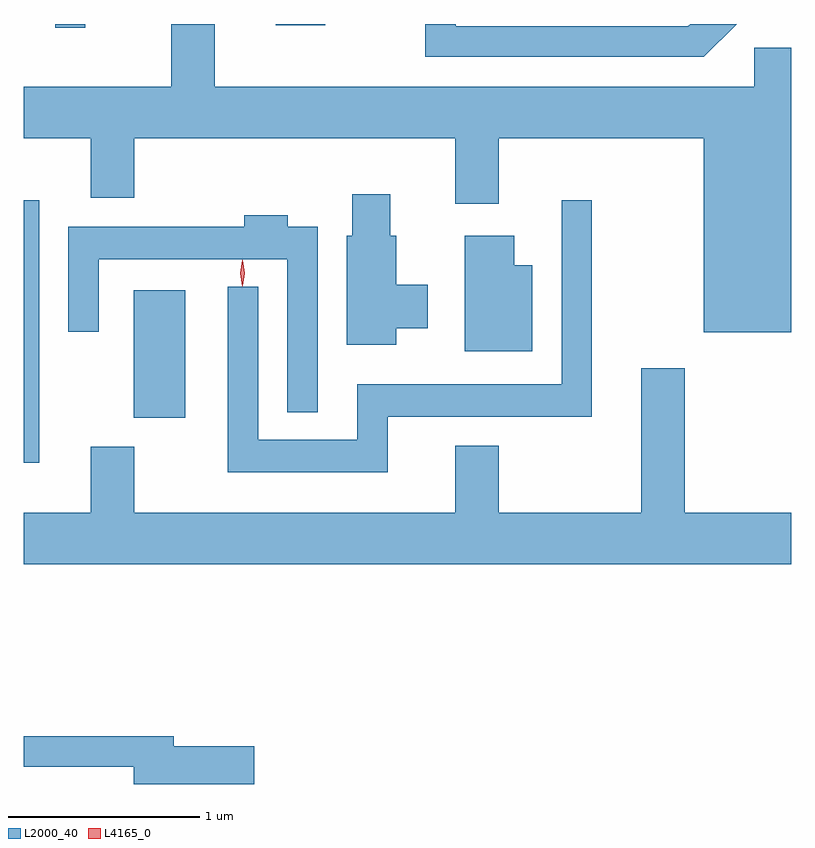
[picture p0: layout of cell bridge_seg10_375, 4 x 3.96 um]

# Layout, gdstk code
import gdstk
lib = gdstk.Library(unit=1e-6, precision=1e-09)
def R(c, l, rs):  # rectangles x0, y0, x1, y1
    for r in rs: c.add(gdstk.rectangle(r[:2], r[2:], *l))
def P(c, l, *ps):  # polygons
    for p in ps: c.add(gdstk.Polygon(p, *l))
L2000_40 = (2000, 40)
L4165_0 = (4165, 0)

bridge_seg10_375 = lib.new_cell('bridge_seg10_375')
R(bridge_seg10_375, L2000_40, [(1415.343,2105.566,1415.424,2106.933), (1415.916,2105.801,1416.184,2106.464), (1415.506,2107.833,1415.664,2107.852), (1416.656,2107.846,1416.914,2107.852)])
P(bridge_seg10_375, L2000_40, [(1419.343,2107.729),(1419.151,2107.729),(1419.151,2107.524),(1416.339,2107.524),(1416.339,2107.852),(1416.111,2107.852),(1416.111,2107.524),(1415.343,2107.524),(1415.343,2107.256),(1415.691,2107.256),(1415.691,2106.946),(1415.919,2106.946),(1415.919,2107.256),(1417.591,2107.256),(1417.591,2106.916),(1417.819,2106.916),(1417.819,2107.256),(1418.886,2107.256),(1418.886,2106.246),(1419.343,2106.246)],
  [(1419.058,2107.852),(1418.817,2107.852),(1418.804,2107.839),(1417.594,2107.839),(1417.594,2107.852),(1417.436,2107.852),(1417.436,2107.681),(1418.887,2107.681)],
  [(1417.284,2106.266),(1417.449,2106.266),(1417.449,2106.494),(1417.284,2106.494),(1417.284,2106.749),(1417.254,2106.749),(1417.254,2106.964),(1417.056,2106.964),(1417.056,2106.749),(1417.026,2106.749),(1417.026,2106.181),(1417.284,2106.181)],
  [(1417.239,2105.806),(1418.304,2105.806),(1418.304,2106.933),(1418.146,2106.933),(1418.146,2105.974),(1417.081,2105.974),(1417.081,2105.684),(1416.564,2105.684),(1416.564,2106.483),(1416.406,2106.483),(1416.406,2105.516),(1417.239,2105.516)],
  [(1416.874,2106.794),(1416.719,2106.794),(1416.719,2106.854),(1416.491,2106.854),(1416.491,2106.794),(1415.576,2106.794),(1415.576,2106.248),(1415.734,2106.248),(1415.734,2106.626),(1416.716,2106.626),(1416.716,2105.828),(1416.874,2105.828)],
  [(1417.994,2106.594),(1417.899,2106.594),(1417.899,2106.749),(1417.641,2106.749),(1417.641,2106.146),(1417.994,2106.146)],
  [(1419.343,2105.304),(1418.789,2105.304),(1418.789,2106.059),(1418.561,2106.059),(1418.561,2105.304),(1417.819,2105.304),(1417.819,2105.654),(1417.591,2105.654),(1417.591,2105.304),(1415.919,2105.304),(1415.919,2105.649),(1415.691,2105.649),(1415.691,2105.304),(1415.343,2105.304),(1415.343,2105.036),(1419.343,2105.036)],
  [(1416.544,2104.089),(1416.124,2104.089),(1416.124,2104.139),(1415.343,2104.139),(1415.343,2103.981),(1415.916,2103.981),(1415.916,2103.891),(1416.544,2103.891)])
P(bridge_seg10_375, L4165_0, [(1416.485,2106.487),(1416.484,2106.488),(1416.475,2106.554),(1416.484,2106.62),(1416.484,2106.62),(1416.485,2106.62),(1416.494,2106.554),(1416.485,2106.488)],
  [(1416.482,2106.483),(1416.482,2106.484),(1416.472,2106.553),(1416.482,2106.622),(1416.482,2106.623),(1416.483,2106.622),(1416.492,2106.553),(1416.483,2106.484)])

lib.write_gds('bridge_seg10_375.gds')
